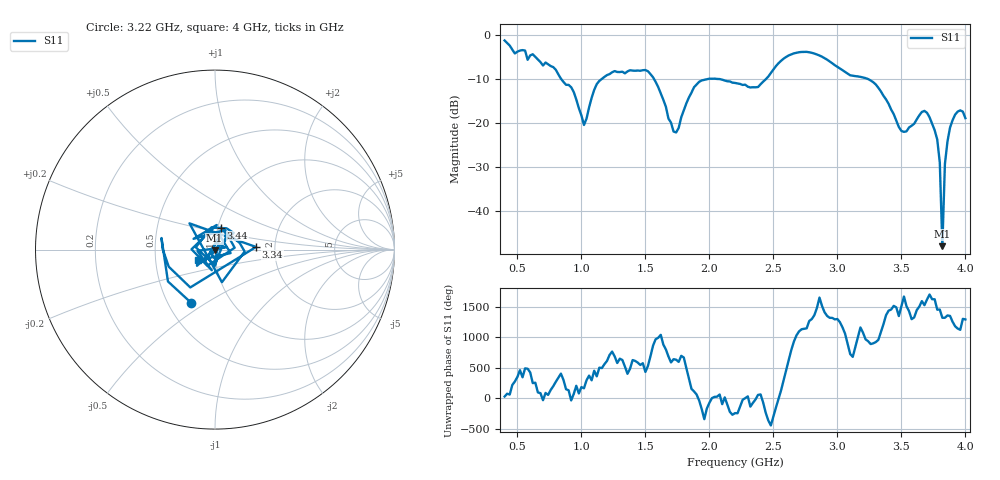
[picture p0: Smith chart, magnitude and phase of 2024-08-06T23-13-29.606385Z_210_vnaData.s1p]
!Created with skrf (http://scikit-rf.org).
# Hz S RI R 50.0
!freq ReS11 ImS11
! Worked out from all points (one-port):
!   181 points, 400 MHz to 4 GHz, reference 50 ohm
!   lowest |S11| = -48.1 dB at 3.82 GHz (marker M1), VSWR 1.01, Z = 49.8 - j0.339 ohm
!   |S11| at or under -10 dB: 1.568 GHz to 1.987 GHz (418.8 MHz wide, 23.6 % of centre); 2.082 GHz to 2.441 GHz (359.8 MHz wide, 15.9 % of centre); 3.241 GHz to end of sweep (the widest 3 of 4)
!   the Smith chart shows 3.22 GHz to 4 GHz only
!   S11 on the Smith chart (normalised r, x): 3.22 GHz: 0.65, -0.43; 3.34 GHz: 1.59, +0.05; 3.44 GHz: 1.03, +0.26; 4 GHz: 0.82, -0.10
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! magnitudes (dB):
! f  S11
! 400 MHz  -1.2
! 860 MHz  -10.6
! 940 MHz  -12.9
! 1.02 GHz  -20.4
! 1.12 GHz  -11.1
! 1.3 GHz  -8.4
! 1.52 GHz  -8.2
! 1.6 GHz  -11.8
! 1.72 GHz  -21.9
! 1.76 GHz  -21.1
! 1.92 GHz  -10.6
! 2.2 GHz  -10.9
! 2.38 GHz  -11.8
! 2.66 GHz  -4.1
! 3.1 GHz  -9.1
! 3.22 GHz  -9.8
! 3.34 GHz  -12.8
! 3.44 GHz  -18.0
! 3.5 GHz  -21.8
! 3.56 GHz  -21.0
! 3.68 GHz  -17.2
! 3.76 GHz  -21.6
! 3.8 GHz  -29.0
! 3.82 GHz  -48.1
! 3.84 GHz  -29.3
! 3.86 GHz  -24.2
! 3.92 GHz  -18.1
! 4 GHz  -18.9
